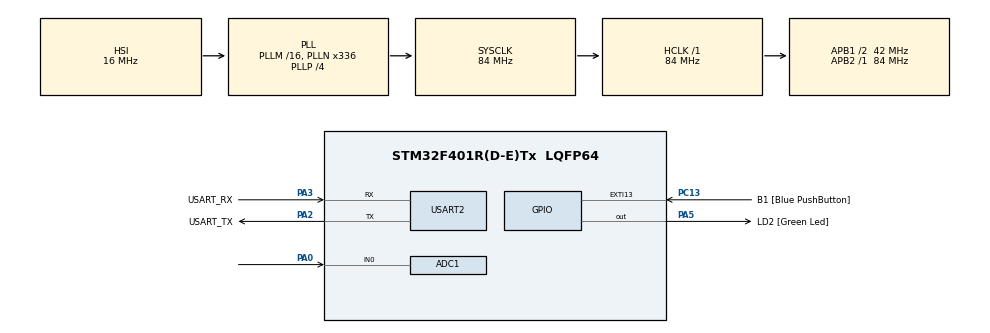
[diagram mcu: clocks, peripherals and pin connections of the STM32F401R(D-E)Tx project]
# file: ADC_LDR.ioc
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ADC1.Channel-1\#ChannelRegularConversion=ADC_CHANNEL_0
ADC1.DMAContinuousRequests=ENABLE
ADC1.ExternalTrigConv=ADC_EXTERNALTRIGCONV_T2_TRGO
ADC1.NbrOfConversionFlag=1
ADC1.Rank-1\#ChannelRegularConversion=1
ADC1.SamplingTime-1\#ChannelRegularConversion=ADC_SAMPLETIME_480CYCLES
ADC1.master=1
Dma.ADC1.0.Direction=DMA_PERIPH_TO_MEMORY
Dma.ADC1.0.FIFOMode=DMA_FIFOMODE_DISABLE
Dma.ADC1.0.Instance=DMA2_Stream0
Dma.ADC1.0.MemDataAlignment=DMA_MDATAALIGN_WORD
Dma.ADC1.0.MemInc=DMA_MINC_ENABLE
Dma.ADC1.0.Mode=DMA_CIRCULAR
Dma.ADC1.0.PeriphDataAlignment=DMA_PDATAALIGN_WORD
Dma.ADC1.0.PeriphInc=DMA_PINC_DISABLE
Dma.ADC1.0.Priority=DMA_PRIORITY_LOW
Dma.Request0=ADC1
Mcu.Family=STM32F4
Mcu.Name=STM32F401R(D-E)Tx
Mcu.Package=LQFP64
NVIC.ADC_IRQn=true\:0\:0\:false\:false\:true\:true\:true
NVIC.DMA2_Stream0_IRQn=true\:0\:0\:false\:false\:true\:false\:true
NVIC.PriorityGroup=NVIC_PRIORITYGROUP_0
PA0-WKUP.Signal=ADCx_IN0
PA13.GPIO_Label=TMS
PA13.Mode=Serial_Wire
PA13.Signal=SYS_JTMS-SWDIO
PA14.GPIO_Label=TCK
PA14.Mode=Serial_Wire
PA14.Signal=SYS_JTCK-SWCLK
PA2.GPIO_Label=USART_TX
PA2.GPIO_Mode=GPIO_MODE_AF_PP
PA2.GPIO_PuPd=GPIO_NOPULL
PA2.GPIO_Speed=GPIO_SPEED_FREQ_LOW
PA2.Mode=Asynchronous
PA2.Signal=USART2_TX
PA3.GPIO_Label=USART_RX
PA3.GPIO_Mode=GPIO_MODE_AF_PP
PA3.GPIO_PuPd=GPIO_NOPULL
PA3.GPIO_Speed=GPIO_SPEED_FREQ_LOW
PA3.Mode=Asynchronous
PA3.Signal=USART2_RX
PA5.GPIO_Label=LD2 [Green Led]
PA5.GPIO_Mode=GPIO_MODE_OUTPUT_PP
PA5.GPIO_PuPd=GPIO_NOPULL
PA5.GPIO_Speed=GPIO_SPEED_FREQ_LOW
PA5.Signal=GPIO_Output
PB3.GPIO_Label=SWO
PB3.Signal=SYS_JTDO-SWO
PC13-ANTI_TAMP.GPIO_Label=B1 [Blue PushButton]
PC13-ANTI_TAMP.GPIO_ModeDefaultEXTI=GPIO_MODE_IT_FALLING
PC13-ANTI_TAMP.GPIO_PuPd=GPIO_NOPULL
PC13-ANTI_TAMP.Signal=GPXTI13
PC14-OSC32_IN.Mode=LSE-External-Oscillator
PC14-OSC32_IN.Signal=RCC_OSC32_IN
PC15-OSC32_OUT.Mode=LSE-External-Oscillator
PC15-OSC32_OUT.Signal=RCC_OSC32_OUT
PH0\ -\ OSC_IN.Mode=HSE-External-Clock-Source
PH0\ -\ OSC_IN.Signal=RCC_OSC_IN
PH1\ -\ OSC_OUT.Mode=HSE-External-Clock-Source
PH1\ -\ OSC_OUT.Signal=RCC_OSC_OUT
ProjectManager.HeapSize=0x200
ProjectManager.StackSize=0x400
ProjectManager.TargetToolchain=STM32CubeIDE
RCC.48MHZClocksFreq_Value=48000000
RCC.AHBFreq_Value=84000000
RCC.APB1CLKDivider=RCC_HCLK_DIV2
RCC.APB1Freq_Value=42000000
RCC.APB1TimFreq_Value=84000000
RCC.APB2Freq_Value=84000000
RCC.APB2TimFreq_Value=84000000
RCC.CortexFreq_Value=84000000
RCC.HCLKFreq_Value=84000000
RCC.HSE_VALUE=8000000
RCC.HSI_VALUE=16000000
RCC.PLLN=336
RCC.PLLP=RCC_PLLP_DIV4
RCC.PLLQ=7
RCC.SYSCLKFreq_VALUE=84000000
RCC.SYSCLKSource=RCC_SYSCLKSOURCE_PLLCLK
RCC.VCOOutputFreq_Value=336000000
SH.ADCx_IN0.0=ADC1_IN0,IN0
TIM2.ClockDivision=TIM_CLOCKDIVISION_DIV1
TIM2.Period=100 - 1
TIM2.Prescaler=840 - 1
TIM2.TIM_MasterOutputTrigger=TIM_TRGO_UPDATE
USART2.VirtualMode=VM_ASYNC
VP_TIM2_VS_ClockSourceINT.Mode=Internal
board=NUCLEO-F401RE

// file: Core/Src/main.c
/* USER CODE BEGIN Header */
/**
  ******************************************************************************
  * @file           : main.c
  * @brief          : Main program body
  ******************************************************************************
  * @attention
  *
  * <h2><center>&copy; Copyright (c) 2021 STMicroelectronics.
  * All rights reserved.</center></h2>
  *
  * This software component is licensed by ST under BSD 3-Clause license,
  * the "License"; You may not use this file except in compliance with the
  * License. You may obtain a copy of the License at:
  *                        opensource.org/licenses/BSD-3-Clause
  *
  ******************************************************************************
  */
/* USER CODE END Header */
#include "main.h"

/* USER CODE BEGIN Includes */
#include "stdio.h"
#include "string.h"
#include "math.h"
/* USER CODE END Includes */

/* USER CODE BEGIN PD */
#define BUFLEN 1000
#define KOHM 1000
#define VDD 3.3
#define ADC_LEVELS 4096
/* USER CODE END PD */

ADC_HandleTypeDef hadc1;
DMA_HandleTypeDef hdma_adc1;

TIM_HandleTypeDef htim2;

UART_HandleTypeDef huart2;

/* USER CODE BEGIN PV */
uint32_t ADC_array[2*BUFLEN] = {0};
/* USER CODE END PV */

void SystemClock_Config(void);
static void MX_GPIO_Init(void);
static void MX_USART2_UART_Init(void);
static void MX_DMA_Init(void);
static void MX_ADC1_Init(void);
static void MX_TIM2_Init(void);

/* USER CODE BEGIN 0 */

void HAL_ADC_ConvHalfCpltCallback(ADC_HandleTypeDef* hadc){
	uint32_t avg = 0;
	for (int i = 0; i < BUFLEN; ++i) {
		avg += ADC_array[i];
	}

	float voltage = (avg / BUFLEN) * VDD / ADC_LEVELS;
	float resistance = (voltage * 100*KOHM)/ (VDD - voltage);
	float lux = 10* powf((100*KOHM / resistance), 1.25);

	char buffer[100];
	int buffer_length = snprintf(buffer, sizeof(buffer), "Resistance1: %.0f Ohm\r\nAvg. Light: %.2f Lux\r\n\r\n", resistance, lux);
	HAL_UART_Transmit(&huart2, (uint8_t *)buffer, buffer_length, 100);
}

void HAL_ADC_ConvCpltCallback(ADC_HandleTypeDef* hadc){
	uint32_t avg = 0;
	for (int i = BUFLEN; i < 2*BUFLEN; ++i) {
		avg += ADC_array[i];
	}

	float voltage = (avg / BUFLEN) * VDD / ADC_LEVELS;
	float resistance = (voltage * 100*KOHM)/ (VDD - voltage);
	float lux = 10* powf((100*KOHM / resistance), 1.25);

	char buffer[100];
	int buffer_length = snprintf(buffer, sizeof(buffer), "Resistance2: %.0f Ohm\r\nAvg. Light: %.2f Lux\r\n\r\n", resistance, lux);
	HAL_UART_Transmit(&huart2, (uint8_t *)buffer, buffer_length, 100);
}

/* USER CODE END 0 */

int main(void)
{

  /* MCU Configuration--------------------------------------------------------*/

  /* Reset of all peripherals, Initializes the Flash interface and the Systick. */
  HAL_Init();

  /* Configure the system clock */
  SystemClock_Config();

  /* Initialize all configured peripherals */
  MX_GPIO_Init();
  MX_USART2_UART_Init();
  MX_DMA_Init();
  MX_ADC1_Init();
  MX_TIM2_Init();
  /* USER CODE BEGIN 2 */
  HAL_TIM_Base_Start(&htim2);
  HAL_ADC_Start_DMA(&hadc1, ADC_array, 2*BUFLEN);

  /* USER CODE END 2 */

  /* Infinite loop */
  while (1)
  {

  }
}

void SystemClock_Config(void)
{
  RCC_OscInitTypeDef RCC_OscInitStruct = {0};
  RCC_ClkInitTypeDef RCC_ClkInitStruct = {0};

  /** Configure the main internal regulator output voltage
  */
  __HAL_RCC_PWR_CLK_ENABLE();
  __HAL_PWR_VOLTAGESCALING_CONFIG(PWR_REGULATOR_VOLTAGE_SCALE2);
  /** Initializes the RCC Oscillators according to the specified parameters
  * in the RCC_OscInitTypeDef structure.
  */
  RCC_OscInitStruct.OscillatorType = RCC_OSCILLATORTYPE_HSI;
  RCC_OscInitStruct.HSIState = RCC_HSI_ON;
  RCC_OscInitStruct.HSICalibrationValue = RCC_HSICALIBRATION_DEFAULT;
  RCC_OscInitStruct.PLL.PLLState = RCC_PLL_ON;
  RCC_OscInitStruct.PLL.PLLSource = RCC_PLLSOURCE_HSI;
  RCC_OscInitStruct.PLL.PLLM = 16;
  RCC_OscInitStruct.PLL.PLLN = 336;
  RCC_OscInitStruct.PLL.PLLP = RCC_PLLP_DIV4;
  RCC_OscInitStruct.PLL.PLLQ = 7;
  if (HAL_RCC_OscConfig(&RCC_OscInitStruct) != HAL_OK)
  {
    Error_Handler();
  }
  /** Initializes the CPU, AHB and APB buses clocks
  */
  RCC_ClkInitStruct.ClockType = RCC_CLOCKTYPE_HCLK|RCC_CLOCKTYPE_SYSCLK
                              |RCC_CLOCKTYPE_PCLK1|RCC_CLOCKTYPE_PCLK2;
  RCC_ClkInitStruct.SYSCLKSource = RCC_SYSCLKSOURCE_PLLCLK;
  RCC_ClkInitStruct.AHBCLKDivider = RCC_SYSCLK_DIV1;
  RCC_ClkInitStruct.APB1CLKDivider = RCC_HCLK_DIV2;
  RCC_ClkInitStruct.APB2CLKDivider = RCC_HCLK_DIV1;

  if (HAL_RCC_ClockConfig(&RCC_ClkInitStruct, FLASH_LATENCY_2) != HAL_OK)
  {
    Error_Handler();
  }
}

static void MX_ADC1_Init(void)
{

  ADC_ChannelConfTypeDef sConfig = {0};

  /** Configure the global features of the ADC (Clock, Resolution, Data Alignment and number of conversion)
  */
  hadc1.Instance = ADC1;
  hadc1.Init.ClockPrescaler = ADC_CLOCK_SYNC_PCLK_DIV4;
  hadc1.Init.Resolution = ADC_RESOLUTION_12B;
  hadc1.Init.ScanConvMode = DISABLE;
  hadc1.Init.ContinuousConvMode = DISABLE;
  hadc1.Init.DiscontinuousConvMode = DISABLE;
  hadc1.Init.ExternalTrigConvEdge = ADC_EXTERNALTRIGCONVEDGE_RISING;
  hadc1.Init.ExternalTrigConv = ADC_EXTERNALTRIGCONV_T2_TRGO;
  hadc1.Init.DataAlign = ADC_DATAALIGN_RIGHT;
  hadc1.Init.NbrOfConversion = 1;
  hadc1.Init.DMAContinuousRequests = ENABLE;
  hadc1.Init.EOCSelection = ADC_EOC_SINGLE_CONV;
  if (HAL_ADC_Init(&hadc1) != HAL_OK)
  {
    Error_Handler();
  }
  /** Configure for the selected ADC regular channel its corresponding rank in the sequencer and its sample time.
  */
  sConfig.Channel = ADC_CHANNEL_0;
  sConfig.Rank = 1;
  sConfig.SamplingTime = ADC_SAMPLETIME_480CYCLES;
  if (HAL_ADC_ConfigChannel(&hadc1, &sConfig) != HAL_OK)
  {
    Error_Handler();
  }

}

static void MX_TIM2_Init(void)
{

  TIM_ClockConfigTypeDef sClockSourceConfig = {0};
  TIM_MasterConfigTypeDef sMasterConfig = {0};

  htim2.Instance = TIM2;
  htim2.Init.Prescaler = 840 - 1;
  htim2.Init.CounterMode = TIM_COUNTERMODE_UP;
  htim2.Init.Period = 100 - 1;
  htim2.Init.ClockDivision = TIM_CLOCKDIVISION_DIV1;
  htim2.Init.AutoReloadPreload = TIM_AUTORELOAD_PRELOAD_DISABLE;
  if (HAL_TIM_Base_Init(&htim2) != HAL_OK)
  {
    Error_Handler();
  }
  sClockSourceConfig.ClockSource = TIM_CLOCKSOURCE_INTERNAL;
  if (HAL_TIM_ConfigClockSource(&htim2, &sClockSourceConfig) != HAL_OK)
  {
    Error_Handler();
  }
  sMasterConfig.MasterOutputTrigger = TIM_TRGO_UPDATE;
  sMasterConfig.MasterSlaveMode = TIM_MASTERSLAVEMODE_DISABLE;
  if (HAL_TIMEx_MasterConfigSynchronization(&htim2, &sMasterConfig) != HAL_OK)
  {
    Error_Handler();
  }

}

static void MX_USART2_UART_Init(void)
{

  huart2.Instance = USART2;
  huart2.Init.BaudRate = 115200;
  huart2.Init.WordLength = UART_WORDLENGTH_8B;
  huart2.Init.StopBits = UART_STOPBITS_1;
  huart2.Init.Parity = UART_PARITY_NONE;
  huart2.Init.Mode = UART_MODE_TX_RX;
  huart2.Init.HwFlowCtl = UART_HWCONTROL_NONE;
  huart2.Init.OverSampling = UART_OVERSAMPLING_16;
  if (HAL_UART_Init(&huart2) != HAL_OK)
  {
    Error_Handler();
  }

}

static void MX_DMA_Init(void)
{

  /* DMA controller clock enable */
  __HAL_RCC_DMA2_CLK_ENABLE();

  /* DMA interrupt init */
  /* DMA2_Stream0_IRQn interrupt configuration */
  HAL_NVIC_SetPriority(DMA2_Stream0_IRQn, 0, 0);
  HAL_NVIC_EnableIRQ(DMA2_Stream0_IRQn);

}

static void MX_GPIO_Init(void)
{
  GPIO_InitTypeDef GPIO_InitStruct = {0};

  /* GPIO Ports Clock Enable */
  __HAL_RCC_GPIOC_CLK_ENABLE();
  __HAL_RCC_GPIOH_CLK_ENABLE();
  __HAL_RCC_GPIOA_CLK_ENABLE();
  __HAL_RCC_GPIOB_CLK_ENABLE();

  /*Configure GPIO pin Output Level */
  HAL_GPIO_WritePin(LD2_GPIO_Port, LD2_Pin, GPIO_PIN_RESET);

  /*Configure GPIO pin : B1_Pin */
  GPIO_InitStruct.Pin = B1_Pin;
  GPIO_InitStruct.Mode = GPIO_MODE_IT_FALLING;
  GPIO_InitStruct.Pull = GPIO_NOPULL;
  HAL_GPIO_Init(B1_GPIO_Port, &GPIO_InitStruct);

  /*Configure GPIO pin : LD2_Pin */
  GPIO_InitStruct.Pin = LD2_Pin;
  GPIO_InitStruct.Mode = GPIO_MODE_OUTPUT_PP;
  GPIO_InitStruct.Pull = GPIO_NOPULL;
  GPIO_InitStruct.Speed = GPIO_SPEED_FREQ_LOW;
  HAL_GPIO_Init(LD2_GPIO_Port, &GPIO_InitStruct);

}

void Error_Handler(void)
{
  __disable_irq();
  while (1)
  {
  }
}

/************************ (C) COPYRIGHT STMicroelectronics *****END OF FILE****/
